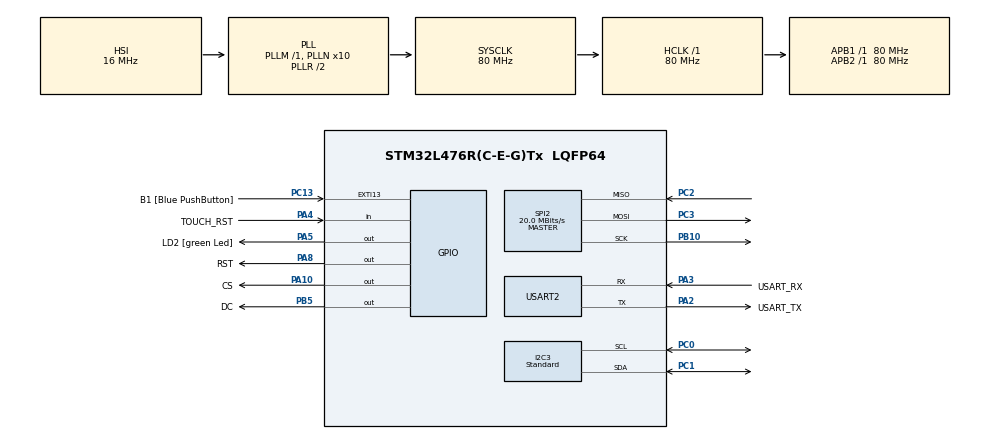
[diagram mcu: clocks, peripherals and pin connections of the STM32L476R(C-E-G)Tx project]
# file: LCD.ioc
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I2C3.I2C_Speed_Mode=I2C_Standard
I2C3.Timing=0x10D19CE4
Mcu.Family=STM32L4
Mcu.Name=STM32L476R(C-E-G)Tx
Mcu.Package=LQFP64
NVIC.PriorityGroup=NVIC_PRIORITYGROUP_4
PA10.GPIO_Label=CS
PA10.PinState=GPIO_PIN_SET
PA10.Signal=GPIO_Output
PA13\ (JTMS-SWDIO).GPIO_Label=TMS
PA13\ (JTMS-SWDIO).Signal=SYS_JTMS-SWDIO
PA14\ (JTCK-SWCLK).GPIO_Label=TCK
PA14\ (JTCK-SWCLK).Signal=SYS_JTCK-SWCLK
PA2.GPIO_Label=USART_TX
PA2.GPIO_Mode=GPIO_MODE_AF_PP
PA2.GPIO_PuPd=GPIO_NOPULL
PA2.GPIO_Speed=GPIO_SPEED_FREQ_VERY_HIGH
PA2.Mode=Asynchronous
PA2.Signal=USART2_TX
PA3.GPIO_Label=USART_RX
PA3.GPIO_Mode=GPIO_MODE_AF_PP
PA3.GPIO_PuPd=GPIO_NOPULL
PA3.GPIO_Speed=GPIO_SPEED_FREQ_VERY_HIGH
PA3.Mode=Asynchronous
PA3.Signal=USART2_RX
PA4.GPIO_Label=TOUCH_RST
PA4.Signal=GPIO_Input
PA5.GPIO_Label=LD2 [green Led]
PA5.GPIO_ModeDefaultOutputPP=GPIO_MODE_OUTPUT_PP
PA5.GPIO_PuPd=GPIO_NOPULL
PA5.GPIO_Speed=GPIO_SPEED_FREQ_LOW
PA5.Signal=GPIO_Output
PA8.GPIO_Label=RST
PA8.PinState=GPIO_PIN_SET
PA8.Signal=GPIO_Output
PB10.Mode=Full_Duplex_Master
PB10.Signal=SPI2_SCK
PB3\ (JTDO-TRACESWO).GPIO_Label=SWO
PB3\ (JTDO-TRACESWO).Signal=SYS_JTDO-SWO
PB5.GPIO_Label=DC
PB5.PinState=GPIO_PIN_SET
PB5.Signal=GPIO_Output
PC0.Mode=I2C
PC0.Signal=I2C3_SCL
PC1.Mode=I2C
PC1.Signal=I2C3_SDA
PC13.GPIO_Label=B1 [Blue PushButton]
PC13.GPIO_ModeDefaultEXTI=GPIO_MODE_IT_FALLING
PC13.GPIO_PuPd=GPIO_NOPULL
PC13.Signal=GPXTI13
PC14-OSC32_IN\ (PC14).Signal=RCC_OSC32_IN
PC15-OSC32_OUT\ (PC15).Signal=RCC_OSC32_OUT
PC2.Mode=Full_Duplex_Master
PC2.Signal=SPI2_MISO
PC3.Mode=Full_Duplex_Master
PC3.Signal=SPI2_MOSI
PH0-OSC_IN\ (PH0).Signal=RCC_OSC_IN
PH1-OSC_OUT\ (PH1).Signal=RCC_OSC_OUT
ProjectManager.HeapSize=0x200
ProjectManager.StackSize=0x400
ProjectManager.TargetToolchain=STM32CubeIDE
RCC.ADCFreq_Value=64000000
RCC.AHBFreq_Value=80000000
RCC.APB1Freq_Value=80000000
RCC.APB1TimFreq_Value=80000000
RCC.APB2Freq_Value=80000000
RCC.APB2TimFreq_Value=80000000
RCC.CortexFreq_Value=80000000
RCC.HCLKFreq_Value=80000000
RCC.HSE_VALUE=8000000
RCC.HSI_VALUE=16000000
RCC.LSE_VALUE=32768
RCC.MSI_VALUE=4000000
RCC.PLLN=10
RCC.PLLSourceVirtual=RCC_PLLSOURCE_HSI
RCC.SYSCLKFreq_VALUE=80000000
RCC.SYSCLKSource=RCC_SYSCLKSOURCE_PLLCLK
RCC.USBFreq_Value=64000000
RCC.VCOOutputFreq_Value=160000000
SPI2.BaudRatePrescaler=SPI_BAUDRATEPRESCALER_4
SPI2.CalculateBaudRate=20.0 MBits/s
SPI2.DataSize=SPI_DATASIZE_8BIT
SPI2.Direction=SPI_DIRECTION_2LINES
SPI2.Mode=SPI_MODE_MASTER
SPI2.VirtualType=VM_MASTER
USART2.VirtualMode-Asynchronous=VM_ASYNC
board=NUCLEO-L476RG

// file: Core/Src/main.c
/* USER CODE BEGIN Header */
/**
  ******************************************************************************
  * @file           : main.c
  * @brief          : Main program body
  ******************************************************************************
  * @attention
  *
  * Copyright (c) 2025 STMicroelectronics.
  * All rights reserved.
  *
  * This software is licensed under terms that can be found in the LICENSE file
  * in the root directory of this software component.
  * If no LICENSE file comes with this software, it is provided AS-IS.
  *
  ******************************************************************************
  */
/* USER CODE END Header */
#include "main.h"

/* USER CODE BEGIN Includes */
#include <stdio.h>
#include <string.h>

#include "ft6336u.h"
#include "st7796.h"
#include "lvgl/lvgl.h"
#include "lvgl/port/lv_port_disp.h"
#include "lvgl/port/lv_port_indev.h"
#define LVGL_TICK 	5
/* USER CODE END Includes */

//FT6336U I2C3
I2C_HandleTypeDef hi2c3;

//ST7796 SPI2
SPI_HandleTypeDef hspi2;

//虚拟com口 UART2
UART_HandleTypeDef huart2;

void SystemClock_Config(void);
static void MX_GPIO_Init(void);
static void MX_SPI2_Init(void);
static void MX_I2C3_Init(void);
static void MX_USART2_UART_Init(void);

/* USER CODE BEGIN 0 */
static void lvgl_init( void )
{
  lv_init(); //基本初始化
  lv_port_disp_init();        // 显示器初始化
  lv_port_indev_init();       // 输入设备初始化
}

static void btn_event_cb(lv_event_t * e)
{
    lv_event_code_t code = lv_event_get_code(e);
    lv_obj_t * btn = lv_event_get_target(e);

    if(code == LV_EVENT_CLICKED) {
        lv_obj_t * label = lv_obj_get_child(btn, 0);
        static uint16_t counter = 0;
        lv_label_set_text_fmt(label, "Clicked: %d", ++counter);
    }
}

static void slider_event_cb(lv_event_t * e)
{
    lv_obj_t * slider = lv_event_get_target(e);
    int32_t value = lv_slider_get_value(slider);
    lv_obj_t * label = lv_event_get_user_data(e);
    lv_label_set_text_fmt(label, "Value: %d", value);
}

static void switch_event_cb(lv_event_t * e)
{
    lv_obj_t * sw = lv_event_get_target(e);
    bool on = lv_obj_has_state(sw, LV_STATE_CHECKED);
    printf("Switch toggled: %s\r\n", on ? "ON" : "OFF");
}

void create_advanced_touch_test_ui(void)
{
    // 创建标签作为标题
    lv_obj_t * title = lv_label_create(lv_scr_act());
    lv_label_set_text(title, "LVGL Touch Test");
    lv_obj_align(title, LV_ALIGN_TOP_MID, 0, 10);

    // 创建按钮
    lv_obj_t * btn = lv_btn_create(lv_scr_act());
    lv_obj_align(btn, LV_ALIGN_TOP_LEFT, 20, 50);
    lv_obj_add_event_cb(btn, btn_event_cb, LV_EVENT_CLICKED, NULL);
    lv_obj_t * btn_label = lv_label_create(btn);
    lv_label_set_text(btn_label, "Clicked: 0");

    // 创建滑块
    lv_obj_t * slider = lv_slider_create(lv_scr_act());
    lv_obj_set_width(slider, 200);
    lv_obj_align(slider, LV_ALIGN_TOP_MID, 0, 120);
    lv_slider_set_range(slider, 0, 100);

    lv_obj_t * slider_label = lv_label_create(lv_scr_act());
    lv_label_set_text(slider_label, "Value: 0");
    lv_obj_align_to(slider_label, slider, LV_ALIGN_OUT_BOTTOM_MID, 0, 5);

    lv_obj_add_event_cb(slider, slider_event_cb, LV_EVENT_VALUE_CHANGED, slider_label);

    // 创建开关
    lv_obj_t * sw = lv_switch_create(lv_scr_act());
    lv_obj_align(sw, LV_ALIGN_TOP_RIGHT, -20, 50);
    lv_obj_add_event_cb(sw, switch_event_cb, LV_EVENT_VALUE_CHANGED, NULL);

    // 创建下拉框
    lv_obj_t * dd = lv_dropdown_create(lv_scr_act());
    lv_dropdown_set_options(dd, "Option 1\nOption 2\nOption 3");
    lv_obj_align(dd, LV_ALIGN_BOTTOM_LEFT, 20, -20);

    // 创建文本框
    lv_obj_t * ta = lv_textarea_create(lv_scr_act());
    lv_obj_set_width(ta, 180);
    lv_obj_align(ta, LV_ALIGN_BOTTOM_RIGHT, -20, -20);
    lv_textarea_set_placeholder_text(ta, "Enter text...");
}

int _write(int file, char *ptr, int len)
{
  HAL_UART_Transmit(&huart2, (uint8_t *)ptr, len, HAL_MAX_DELAY);
  return len;
}

/* USER CODE END 0 */

int main(void)
{

  /* MCU Configuration--------------------------------------------------------*/

  /* Reset of all peripherals, Initializes the Flash interface and the Systick. */
  HAL_Init();

  /* Configure the system clock */
  SystemClock_Config();

  /* Initialize all configured peripherals */
  MX_GPIO_Init();
  MX_SPI2_Init();
  MX_I2C3_Init();
  MX_USART2_UART_Init();
  /* USER CODE BEGIN 2 */

  //驱动程序指针初始化
  ST7796_AttachSPI(&hspi2);
  //lvgl初始化
  lvgl_init();
  create_advanced_touch_test_ui();

  /* USER CODE END 2 */

  /* Infinite loop */
  /* USER CODE BEGIN WHILE */
  while (1)
  {
    lv_timer_handler();
    HAL_Delay(LVGL_TICK);
    /* USER CODE END WHILE */

  }
}

void SystemClock_Config(void)
{
  RCC_OscInitTypeDef RCC_OscInitStruct = {0};
  RCC_ClkInitTypeDef RCC_ClkInitStruct = {0};

  /** Configure the main internal regulator output voltage
  */
  if (HAL_PWREx_ControlVoltageScaling(PWR_REGULATOR_VOLTAGE_SCALE1) != HAL_OK)
  {
    Error_Handler();
  }

  /** Initializes the RCC Oscillators according to the specified parameters
  * in the RCC_OscInitTypeDef structure.
  */
  RCC_OscInitStruct.OscillatorType = RCC_OSCILLATORTYPE_HSI;
  RCC_OscInitStruct.HSIState = RCC_HSI_ON;
  RCC_OscInitStruct.HSICalibrationValue = RCC_HSICALIBRATION_DEFAULT;
  RCC_OscInitStruct.PLL.PLLState = RCC_PLL_ON;
  RCC_OscInitStruct.PLL.PLLSource = RCC_PLLSOURCE_HSI;
  RCC_OscInitStruct.PLL.PLLM = 1;
  RCC_OscInitStruct.PLL.PLLN = 10;
  RCC_OscInitStruct.PLL.PLLP = RCC_PLLP_DIV7;
  RCC_OscInitStruct.PLL.PLLQ = RCC_PLLQ_DIV2;
  RCC_OscInitStruct.PLL.PLLR = RCC_PLLR_DIV2;
  if (HAL_RCC_OscConfig(&RCC_OscInitStruct) != HAL_OK)
  {
    Error_Handler();
  }

  /** Initializes the CPU, AHB and APB buses clocks
  */
  RCC_ClkInitStruct.ClockType = RCC_CLOCKTYPE_HCLK|RCC_CLOCKTYPE_SYSCLK
                              |RCC_CLOCKTYPE_PCLK1|RCC_CLOCKTYPE_PCLK2;
  RCC_ClkInitStruct.SYSCLKSource = RCC_SYSCLKSOURCE_PLLCLK;
  RCC_ClkInitStruct.AHBCLKDivider = RCC_SYSCLK_DIV1;
  RCC_ClkInitStruct.APB1CLKDivider = RCC_HCLK_DIV1;
  RCC_ClkInitStruct.APB2CLKDivider = RCC_HCLK_DIV1;

  if (HAL_RCC_ClockConfig(&RCC_ClkInitStruct, FLASH_LATENCY_4) != HAL_OK)
  {
    Error_Handler();
  }
}

static void MX_I2C3_Init(void)
{

  hi2c3.Instance = I2C3;
  hi2c3.Init.Timing = 0x10D19CE4;
  hi2c3.Init.OwnAddress1 = 0;
  hi2c3.Init.AddressingMode = I2C_ADDRESSINGMODE_7BIT;
  hi2c3.Init.DualAddressMode = I2C_DUALADDRESS_DISABLE;
  hi2c3.Init.OwnAddress2 = 0;
  hi2c3.Init.OwnAddress2Masks = I2C_OA2_NOMASK;
  hi2c3.Init.GeneralCallMode = I2C_GENERALCALL_DISABLE;
  hi2c3.Init.NoStretchMode = I2C_NOSTRETCH_DISABLE;
  if (HAL_I2C_Init(&hi2c3) != HAL_OK)
  {
    Error_Handler();
  }

  /** Configure Analogue filter
  */
  if (HAL_I2CEx_ConfigAnalogFilter(&hi2c3, I2C_ANALOGFILTER_ENABLE) != HAL_OK)
  {
    Error_Handler();
  }

  /** Configure Digital filter
  */
  if (HAL_I2CEx_ConfigDigitalFilter(&hi2c3, 0) != HAL_OK)
  {
    Error_Handler();
  }

}

static void MX_SPI2_Init(void)
{

  /* SPI2 parameter configuration*/
  hspi2.Instance = SPI2;
  hspi2.Init.Mode = SPI_MODE_MASTER;
  hspi2.Init.Direction = SPI_DIRECTION_2LINES;
  hspi2.Init.DataSize = SPI_DATASIZE_8BIT;
  hspi2.Init.CLKPolarity = SPI_POLARITY_LOW;
  hspi2.Init.CLKPhase = SPI_PHASE_1EDGE;
  hspi2.Init.NSS = SPI_NSS_SOFT;
  hspi2.Init.BaudRatePrescaler = SPI_BAUDRATEPRESCALER_4;
  hspi2.Init.FirstBit = SPI_FIRSTBIT_MSB;
  hspi2.Init.TIMode = SPI_TIMODE_DISABLE;
  hspi2.Init.CRCCalculation = SPI_CRCCALCULATION_DISABLE;
  hspi2.Init.CRCPolynomial = 7;
  hspi2.Init.CRCLength = SPI_CRC_LENGTH_DATASIZE;
  hspi2.Init.NSSPMode = SPI_NSS_PULSE_ENABLE;
  if (HAL_SPI_Init(&hspi2) != HAL_OK)
  {
    Error_Handler();
  }

}

static void MX_USART2_UART_Init(void)
{

  huart2.Instance = USART2;
  huart2.Init.BaudRate = 115200;
  huart2.Init.WordLength = UART_WORDLENGTH_8B;
  huart2.Init.StopBits = UART_STOPBITS_1;
  huart2.Init.Parity = UART_PARITY_NONE;
  huart2.Init.Mode = UART_MODE_TX_RX;
  huart2.Init.HwFlowCtl = UART_HWCONTROL_NONE;
  huart2.Init.OverSampling = UART_OVERSAMPLING_16;
  huart2.Init.OneBitSampling = UART_ONE_BIT_SAMPLE_DISABLE;
  huart2.AdvancedInit.AdvFeatureInit = UART_ADVFEATURE_NO_INIT;
  if (HAL_UART_Init(&huart2) != HAL_OK)
  {
    Error_Handler();
  }

}

static void MX_GPIO_Init(void)
{
  GPIO_InitTypeDef GPIO_InitStruct = {0};

  /* GPIO Ports Clock Enable */
  __HAL_RCC_GPIOC_CLK_ENABLE();
  __HAL_RCC_GPIOH_CLK_ENABLE();
  __HAL_RCC_GPIOA_CLK_ENABLE();
  __HAL_RCC_GPIOB_CLK_ENABLE();

  /*Configure GPIO pin Output Level */
  HAL_GPIO_WritePin(LD2_GPIO_Port, LD2_Pin, GPIO_PIN_RESET);

  /*Configure GPIO pin Output Level */
  HAL_GPIO_WritePin(GPIOA, RST_Pin|CS_Pin, GPIO_PIN_SET);

  /*Configure GPIO pin Output Level */
  HAL_GPIO_WritePin(DC_GPIO_Port, DC_Pin, GPIO_PIN_SET);

  /*Configure GPIO pin : B1_Pin */
  GPIO_InitStruct.Pin = B1_Pin;
  GPIO_InitStruct.Mode = GPIO_MODE_IT_FALLING;
  GPIO_InitStruct.Pull = GPIO_NOPULL;
  HAL_GPIO_Init(B1_GPIO_Port, &GPIO_InitStruct);

  /*Configure GPIO pin : TOUCH_RST_Pin */
  GPIO_InitStruct.Pin = TOUCH_RST_Pin;
  GPIO_InitStruct.Mode = GPIO_MODE_INPUT;
  GPIO_InitStruct.Pull = GPIO_NOPULL;
  HAL_GPIO_Init(TOUCH_RST_GPIO_Port, &GPIO_InitStruct);

  /*Configure GPIO pins : LD2_Pin RST_Pin CS_Pin */
  GPIO_InitStruct.Pin = LD2_Pin|RST_Pin|CS_Pin;
  GPIO_InitStruct.Mode = GPIO_MODE_OUTPUT_PP;
  GPIO_InitStruct.Pull = GPIO_NOPULL;
  GPIO_InitStruct.Speed = GPIO_SPEED_FREQ_LOW;
  HAL_GPIO_Init(GPIOA, &GPIO_InitStruct);

  /*Configure GPIO pin : DC_Pin */
  GPIO_InitStruct.Pin = DC_Pin;
  GPIO_InitStruct.Mode = GPIO_MODE_OUTPUT_PP;
  GPIO_InitStruct.Pull = GPIO_NOPULL;
  GPIO_InitStruct.Speed = GPIO_SPEED_FREQ_LOW;
  HAL_GPIO_Init(DC_GPIO_Port, &GPIO_InitStruct);

}

void Error_Handler(void)
{
  __disable_irq();
  while (1)
  {
  }
}
